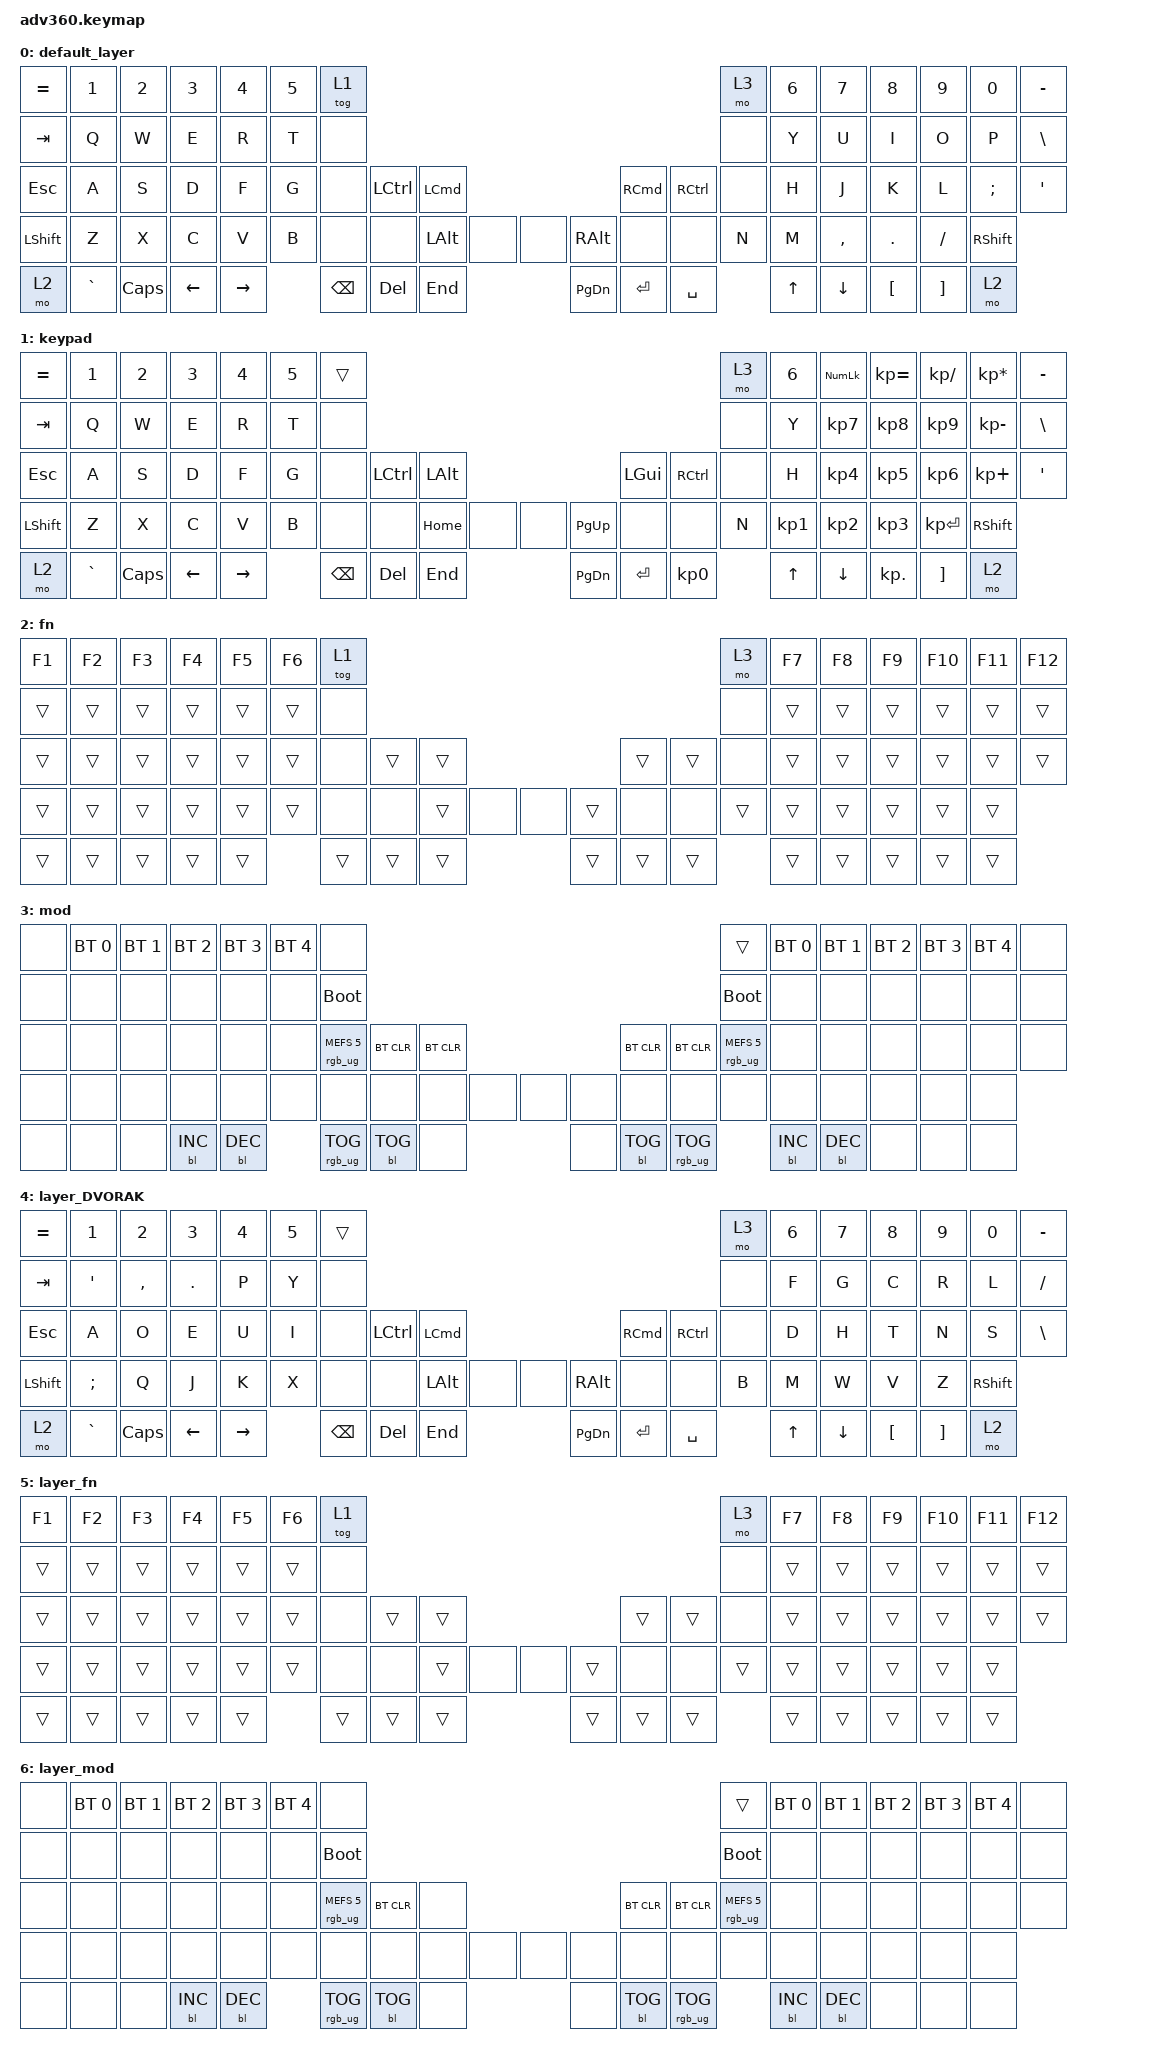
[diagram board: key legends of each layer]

/*
 * Copyright (c) 2020 The ZMK Contributors
 *
 * SPDX-License-Identifier: MIT
 */


/* THIS FILE WAS GENERATED!
 *
 * This file was generated automatically. You may or may not want to
 * edit it directly.
 */

#include <behaviors.dtsi>
#include <dt-bindings/zmk/keys.h>
#include <dt-bindings/zmk/bt.h>
#include <dt-bindings/zmk/rgb.h>
#include <dt-bindings/zmk/backlight.h>

/ {
  behaviors {
    #include "macros.dtsi"

  keymap {
    compatible = "zmk,keymap";

    default_layer {
      bindings = <
        &kp EQUAL &kp N1    &kp N2   &kp N3   &kp N4     &kp N5 &tog 1                                                                       &mo 3 &kp N6 &kp N7 &kp N8    &kp N9   &kp N0   &kp MINUS
        &kp TAB   &kp Q     &kp W    &kp E    &kp R      &kp T  &none                                                                        &none &kp Y  &kp U  &kp I     &kp O    &kp P    &kp BSLH
        &kp ESC   &kp A     &kp S    &kp D    &kp F      &kp G  &none           &kp LCTRL &kp LALT             &kp LGUI  &kp RCTRL           &none &kp H  &kp J  &kp K     &kp L    &kp SEMI &kp SQT
        &kp LSHFT &kp Z     &kp X    &kp C    &kp V      &kp B         &none    &none     &kp HOME &none &none &kp PG_UP &none     &none           &kp N  &kp M  &kp COMMA &kp DOT  &kp FSLH &kp RSHFT
        &mo 2     &kp GRAVE &kp CAPS &kp LEFT &kp RIGHT                &kp BSPC &kp DEL   &kp END              &kp PG_DN &kp ENTER &kp SPACE              &kp UP &kp DOWN  &kp LBKT &kp RBKT &mo 2
      >;
    };
    keypad {
      bindings = <
        &kp EQUAL &kp N1    &kp N2   &kp N3   &kp N4     &kp N5 &trans                                                                       &mo 3 &kp N6 &kp KP_NUM &kp KP_EQUAL &kp KP_DIVIDE &kp KP_MULTIPLY &kp MINUS
        &kp TAB   &kp Q     &kp W    &kp E    &kp R      &kp T  &none                                                                        &none &kp Y  &kp KP_N7  &kp KP_N8    &kp KP_N9     &kp KP_MINUS    &kp BSLH
        &kp ESC   &kp A     &kp S    &kp D    &kp F      &kp G  &none           &kp LCTRL &kp LALT             &kp LGUI  &kp RCTRL           &none &kp H  &kp KP_N4  &kp KP_N5    &kp KP_N6     &kp KP_PLUS     &kp SQT
        &kp LSHFT &kp Z     &kp X    &kp C    &kp V      &kp B         &none    &none     &kp HOME &none &none &kp PG_UP &none     &none           &kp N  &kp KP_N1  &kp KP_N2    &kp KP_N3     &kp KP_ENTER    &kp RSHFT
        &mo 2     &kp GRAVE &kp CAPS &kp LEFT &kp RIGHT                &kp BSPC &kp DEL   &kp END              &kp PG_DN &kp ENTER &kp KP_N0              &kp UP     &kp DOWN     &kp KP_DOT    &kp RBKT        &mo 2
      >;
    };
    fn {
      bindings = <
        &kp F1 &kp F2 &kp F3 &kp F4 &kp F5 &kp F6 &tog 1                                                       &mo 3 &kp F7 &kp F8 &kp F9 &kp F10 &kp F11 &kp F12
        &trans &trans &trans &trans &trans &trans  &none                                                       &none &trans &trans &trans &trans  &trans  &trans
        &trans &trans &trans &trans &trans &trans  &none        &trans &trans             &trans &trans        &none &trans &trans &trans &trans  &trans  &trans
        &trans &trans &trans &trans &trans &trans        &none  &none  &trans &none &none &trans &none  &none        &trans &trans &trans &trans  &trans  &trans
        &trans &trans &trans &trans &trans               &trans &trans &trans             &trans &trans &trans              &trans &trans &trans  &trans  &trans
      >;
    };
    mod {
      bindings = <
        &none &bt BT_SEL 0 &bt BT_SEL 1 &bt BT_SEL 2 &bt BT_SEL 3 &bt BT_SEL 4 &none                                                                                                          &trans                 &bt BT_SEL 0 &bt BT_SEL 1 &bt BT_SEL 2 &bt BT_SEL 3 &bt BT_SEL 4 &none
        &none &none        &none        &none        &none        &none        &bootloader                                                                                                    &bootloader            &none        &none        &none        &none        &none        &none
        &none &none        &none        &none        &none        &none        &rgb_ug RGB_MEFS_CMD 5                 &bt BT_CLR &bt BT_CLR             &bt BT_CLR &bt BT_CLR                 &rgb_ug RGB_MEFS_CMD 5 &none        &none        &none        &none        &none        &none
        &none &none        &none        &none        &none        &none                               &none           &none      &none      &none &none &none      &none      &none                                  &none        &none        &none        &none        &none        &none
        &none &none        &none        &bl BL_INC   &bl BL_DEC                                       &rgb_ug RGB_TOG &bl BL_TOG &none                  &none      &bl BL_TOG &rgb_ug RGB_TOG                                     &bl BL_INC   &bl BL_DEC   &none        &none        &none
      >;
    };
  };

    keymap {
        compatible = "zmk,keymap";


        default_layer {
            bindings = <
 &kp EQUAL     &kp N1    &kp N2    &kp N3     &kp N4    &kp N5             &tog 1             &mo 3            &kp N6     &kp N7     &kp N8             &kp N9             &kp N0  &kp MINUS
   &kp TAB      &kp Q     &kp W     &kp E      &kp R     &kp T              &none             &none             &kp Y      &kp U      &kp I              &kp O              &kp P   &kp BSLH
   &kp ESC      &kp A     &kp S     &kp D      &kp F     &kp G              &none  &kp LEFT_CONTROL  &kp LEFT_COMMAND                        &kp RIGHT_COMMAND  &kp RIGHT_CONTROL      &none     &kp H   &kp J      &kp K    &kp L  &kp SEMI    &kp SQT
 &kp LSHFT      &kp Z     &kp X     &kp C      &kp V     &kp B              &none             &none      &kp LEFT_ALT      &none      &none      &kp RIGHT_ALT              &none      &none     &kp N   &kp M  &kp COMMA  &kp DOT  &kp FSLH  &kp RSHFT
     &mo 2  &kp GRAVE  &kp CAPS  &kp LEFT  &kp RIGHT  &kp BSPC            &kp DEL           &kp END         &kp PG_DN  &kp ENTER  &kp SPACE             &kp UP           &kp DOWN   &kp LBKT  &kp RBKT   &mo 2
            >;
        };

        layer_DVORAK {
            bindings = <
 &kp EQUAL            &kp N1     &kp N2      &kp N3     &kp N4    &kp N5             &trans      &mo 3            &kp N6     &kp N7     &kp N8             &kp N9     &kp N0         &kp MINUS
   &kp TAB  &kp SINGLE_QUOTE  &kp COMMA  &kp PERIOD      &kp P     &kp Y              &none      &none             &kp F      &kp G      &kp C              &kp R      &kp L         &kp SLASH
   &kp ESC             &kp A      &kp O       &kp E      &kp U     &kp I              &none  &kp LCTRL  &kp LEFT_COMMAND                        &kp RIGHT_COMMAND  &kp RCTRL             &none     &kp D   &kp H   &kp T   &kp N   &kp S  &kp BACKSLASH
 &kp LSHFT     &kp SEMICOLON      &kp Q       &kp J      &kp K     &kp X              &none      &none      &kp LEFT_ALT      &none      &none      &kp RIGHT_ALT      &none             &none     &kp B   &kp M   &kp W   &kp V   &kp Z      &kp RSHFT
     &mo 2         &kp GRAVE   &kp CAPS    &kp LEFT  &kp RIGHT  &kp BSPC            &kp DEL    &kp END         &kp PG_DN  &kp ENTER  &kp SPACE             &kp UP   &kp DOWN  &kp LEFT_BRACKET  &kp RBKT   &mo 2
            >;
        };

        layer_fn {
            bindings = <
 &kp F1  &kp F2  &kp F3  &kp F4  &kp F5  &kp F6            &tog 1   &mo 3  &kp F7  &kp F8  &kp F9  &kp F10  &kp F11  &kp F12
 &trans  &trans  &trans  &trans  &trans  &trans             &none   &none  &trans  &trans  &trans   &trans   &trans   &trans
 &trans  &trans  &trans  &trans  &trans  &trans             &none  &trans  &trans                   &trans   &trans    &none  &trans  &trans  &trans  &trans  &trans  &trans
 &trans  &trans  &trans  &trans  &trans  &trans             &none   &none  &trans   &none   &none   &trans    &none    &none  &trans  &trans  &trans  &trans  &trans  &trans
 &trans  &trans  &trans  &trans  &trans  &trans            &trans  &trans  &trans  &trans  &trans   &trans   &trans   &trans  &trans  &trans
            >;
        };

        layer_mod {
            bindings = <
  &none  &bt BT_SEL 0  &bt BT_SEL 1  &bt BT_SEL 2  &bt BT_SEL 3     &bt BT_SEL 4                             &none       &trans  &bt BT_SEL 0  &bt BT_SEL 1     &bt BT_SEL 2  &bt BT_SEL 3  &bt BT_SEL 4                   &none
  &none         &none         &none         &none         &none            &none                       &bootloader  &bootloader         &none         &none            &none         &none         &none                   &none
  &none         &none         &none         &none         &none            &none            &rgb_ug RGB_MEFS_CMD 5   &bt BT_CLR         &none                                   &bt BT_CLR    &bt BT_CLR  &rgb_ug RGB_MEFS_CMD 5   &none   &none   &none   &none   &none   &none
  &none         &none         &none         &none         &none            &none                             &none        &none         &none         &none            &none         &none         &none                   &none   &none   &none   &none   &none   &none   &none
  &none         &none         &none    &bl BL_INC    &bl BL_DEC  &rgb_ug RGB_TOG                        &bl BL_TOG        &none         &none    &bl BL_TOG  &rgb_ug RGB_TOG    &bl BL_INC    &bl BL_DEC                   &none   &none   &none
            >;
        };

    };
};
